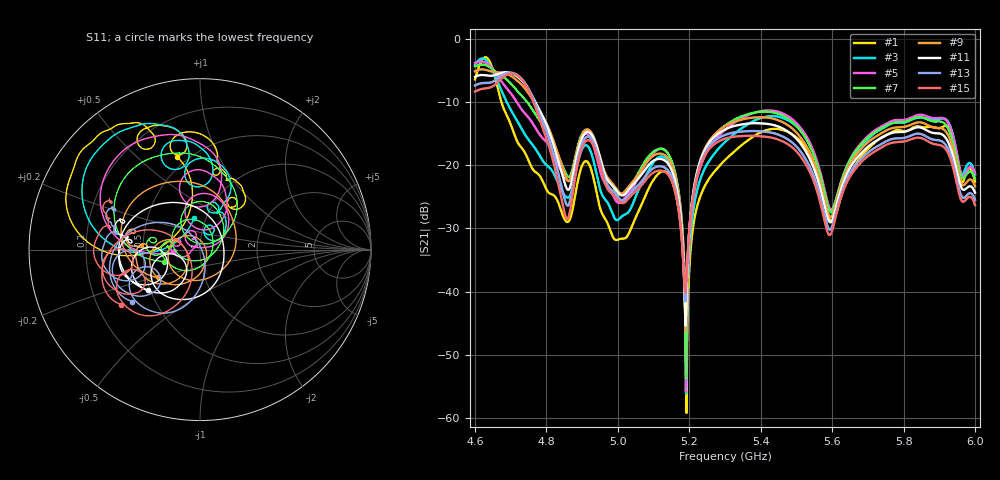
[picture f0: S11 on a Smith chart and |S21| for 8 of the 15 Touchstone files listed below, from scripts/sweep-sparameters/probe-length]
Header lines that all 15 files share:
! TOUCHSTONE file generated by CST MICROWAVE STUDIO
! Project name: test_tuning.cst
! Header version: 2024
! Port assignment regex: !\s*Touchstone port\s*([0-9]+)\s*=\s*(CST MWS port|CST DES external port|CST DES block port)\s*(.+)\s* \(\"(.*)\"\)(\s*mode\s*([0-9]+))?.*
! Touchstone port assignment:
! Touchstone port 1 = CST MWS port 1 ("Input1")
! Touchstone port 2 = CST MWS port 2 ("Input2")
# GHz S MA R 50
Fixed: airCoaxOuterDiameter = 3, chamferAngle = 45, chamferWidth = 24, connectorLength = 10, drillingHoleDiameter = 4.1, feedLength = 60, flareDiameter = 130, flareLength = 70, gratingDistance = 0, gratingGap = 1.90274, outletLength = 30, polarizerLength = 134, probe1Diameter = 1.3, probe1Distance = 14, probe2Diameter = 1.3, probe2Distance = 0, smaInnerDiameter = 1.3, smaOuterDiameter = 4.1, transitionCoefficient = 1.33, waveguideFeedLength = 30, waveguideSide = 50, waveguideThickness = 3, wireCount = 25, wireDiameter = 1.17699
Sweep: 4.6 GHz to 6 GHz
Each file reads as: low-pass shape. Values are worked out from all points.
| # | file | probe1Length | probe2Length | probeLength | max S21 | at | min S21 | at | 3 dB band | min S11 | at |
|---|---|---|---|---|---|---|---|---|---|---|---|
| 1 | probe_length_3.s2p | 9 | 9 | 9 | -2.96 dB | 4.629 GHz | -59.2 dB | 5.192 GHz | 4.603 GHz-4.655 GHz | -15.7 dB | 4.624 GHz |
| 2 | probe_length_4.s2p | 9.5 | 9.5 | 9.5 | -2.97 dB | 4.625 GHz | -55.1 dB | 5.191 GHz | 4.6 GHz-4.655 GHz | -16.9 dB | 4.617 GHz |
| 3 | probe_length_5.s2p | 10 | 10 | 10 | -3.14 dB | 4.621 GHz | -56.1 dB | 5.191 GHz | 4.6 GHz-4.657 GHz | -22.1 dB | 5.933 GHz |
| 4 | probe_length_6.s2p | 10.5 | 10.5 | 10.5 | -3.33 dB | 4.618 GHz | -55.1 dB | 5.192 GHz | 4.6 GHz-4.663 GHz | -45.9 dB | 5.92 GHz |
| 5 | probe_length_7.s2p | 11 | 11 | 11 | -3.67 dB | 4.617 GHz | -55.7 dB | 5.191 GHz | 4.6 GHz-4.671 GHz | -39.0 dB | 5.476 GHz |
| 6 | probe_length_8.s2p | 11.5 | 11.5 | 11.5 | -3.88 dB | 4.62 GHz | -62.5 dB | 5.191 GHz | 4.6 GHz-4.684 GHz | -34.5 dB | 5.112 GHz |
| 7 | probe_length_9.s2p | 12 | 12 | 12 | -4.12 dB | 4.621 GHz | -53.6 dB | 5.191 GHz | 4.6 GHz-4.699 GHz | -29.3 dB | 4.887 GHz |
| 8 | probe_length_10.s2p | 12.5 | 12.5 | 12.5 | -4.40 dB | 4.62 GHz | -47.8 dB | 5.189 GHz | 4.6 GHz-4.716 GHz | -35.8 dB | 5.28 GHz |
| 9 | probe_length_11.s2p | 13 | 13 | 13 | -4.87 dB | 4.62 GHz | -46.1 dB | 5.189 GHz | 4.6 GHz-4.739 GHz | -29.5 dB | 4.958 GHz |
| 10 | probe_length_12.s2p | 13.5 | 13.5 | 13.5 | -5.29 dB | 4.62 GHz | -46.8 dB | 5.189 GHz | 4.6 GHz-4.748 GHz | -27.7 dB | 4.95 GHz |
| 11 | probe_length_13.s2p | 14 | 14 | 14 | -5.32 dB | 4.685 GHz | -45.3 dB | 5.189 GHz | 4.6 GHz-4.753 GHz | -18.7 dB | 4.947 GHz |
| 12 | probe_length_14.s2p | 14.5 | 14.5 | 14.5 | -5.34 dB | 4.691 GHz | -43.4 dB | 5.189 GHz | 4.6 GHz-4.753 GHz | -20.9 dB | 4.767 GHz |
| 13 | probe_length_15.s2p | 15 | 15 | 15 | -5.38 dB | 4.698 GHz | -41.6 dB | 5.189 GHz | 4.6 GHz-4.753 GHz | -40.8 dB | 4.755 GHz |
| 14 | probe_length_16.s2p | 15.5 | 15.5 | 15.5 | -5.46 dB | 4.699 GHz | -41.2 dB | 5.189 GHz | 4.6 GHz-4.753 GHz | -29.2 dB | 4.753 GHz |
| 15 | probe_length_17.s2p | 16 | 16 | 16 | -5.55 dB | 4.702 GHz | -40.1 dB | 5.189 GHz | 4.6 GHz-4.753 GHz | -22.6 dB | 4.75 GHz |
